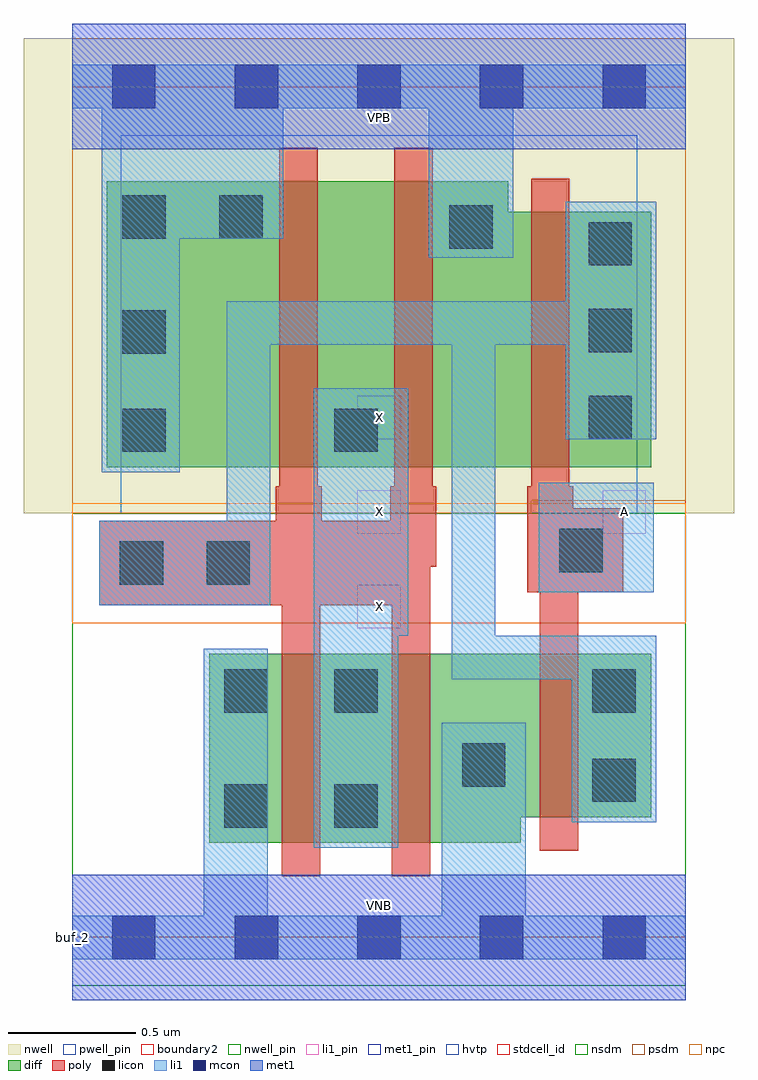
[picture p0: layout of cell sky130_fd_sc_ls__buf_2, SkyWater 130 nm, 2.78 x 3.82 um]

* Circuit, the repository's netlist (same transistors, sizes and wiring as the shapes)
* Copyright 2020 The SkyWater PDK Authors
*
* Licensed under the Apache License, Version 2.0 (the "License");
* you may not use this file except in compliance with the License.
* You may obtain a copy of the License at
*
*     https://www.apache.org/licenses/LICENSE-2.0
*
* Unless required by applicable law or agreed to in writing, software
* distributed under the License is distributed on an "AS IS" BASIS,
* WITHOUT WARRANTIES OR CONDITIONS OF ANY KIND, either express or implied.
* See the License for the specific language governing permissions and
* limitations under the License.
*
* SPDX-License-Identifier: Apache-2.0

.SUBCKT sky130_fd_sc_ls__buf_2 A VGND VNB VPB VPWR X
*.PININFO A:I VGND:I VNB:I VPB:I VPWR:I X:O
MMIN1 Ab A VGND VNB sky130_fd_pr__nfet_01v8 m=1 w=0.64U l=0.15U mult=1 sa=0.265
+ sb=0.265 sd=0.28 area=0.063 perim=1.14
MMIN2 X Ab VGND VNB sky130_fd_pr__nfet_01v8 m=2 w=0.74U l=0.15U mult=1 sa=0.265
+ sb=0.265 sd=0.28 area=0.063 perim=1.14
MMIP1 Ab A VPWR VPB sky130_fd_pr__pfet_01v8_hvt m=1 w=1.0U l=0.15U mult=1 sa=0.265
+ sb=0.265 sd=0.28 area=0.063 perim=1.14
MMIP2 X Ab VPWR VPB sky130_fd_pr__pfet_01v8_hvt m=2 w=1.12U l=0.15U mult=1 sa=0.265
+ sb=0.265 sd=0.28 area=0.063 perim=1.14
.ENDS sky130_fd_sc_ls__buf_2

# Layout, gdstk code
import gdstk
lib = gdstk.Library(unit=1e-6, precision=1e-09)
def R(c, l, rs):  # rectangles x0, y0, x1, y1
    for r in rs: c.add(gdstk.rectangle(r[:2], r[2:], *l))
def A(c, l, x, y, w, h, nx, ny, dx, dy):  # array of equal rectangles
    R(c, l, [(x+i*dx, y+j*dy, x+i*dx+w, y+j*dy+h) for i in range(nx) for j in range(ny)])
def P(c, l, *ps):  # polygons
    for p in ps: c.add(gdstk.Polygon(p, *l))
nwell_pin = (64, 16)
nwell = (64, 20)
diff = (65, 20)
poly = (66, 20)
licon = (66, 44)
li1_pin = (67, 16)
li1 = (67, 20)
mcon = (67, 44)
met1_pin = (68, 16)
met1 = (68, 20)
hvtp = (78, 44)
stdcell_id = (81, 4)
nsdm = (93, 44)
psdm = (94, 20)
npc = (95, 20)
pwell_pin = (122, 16)
boundary2 = (236, 0)

sky130_fd_sc_ls__buf_2 = lib.new_cell('sky130_fd_sc_ls__buf_2')
R(sky130_fd_sc_ls__buf_2, nwell_pin, [(0,3.085,2.4,3.33)])
R(sky130_fd_sc_ls__buf_2, nwell, [(-0.19,1.66,2.59,3.52)])
P(sky130_fd_sc_ls__buf_2, diff, [(2.265,2.84),(1.705,2.84),(1.705,2.96),(0.135,2.96),(0.135,1.84),(2.265,1.84)],
  [(2.265,1.11),(0.535,1.11),(0.535,0.37),(1.755,0.37),(1.755,0.47),(2.265,0.47)])
P(sky130_fd_sc_ls__buf_2, poly, [(1.425,1.765),(1.41,1.765),(1.41,3.09),(1.26,3.09),(1.26,1.765),(1.245,1.765),(1.245,1.63),(0.975,1.63),(0.975,1.765),(0.96,1.765),(0.96,3.09),(0.81,3.09),(0.81,1.765),(0.795,1.765),(0.795,1.63),(0.105,1.63),(0.105,1.3),(0.82,1.3),(0.82,0.24),(0.97,0.24),(0.97,1.3),(1.25,1.3),(1.25,0.24),(1.4,0.24),(1.4,1.45),(1.425,1.45)],
  [(2.155,1.68),(1.96,1.68),(1.96,1.765),(1.945,1.765),(1.945,2.97),(1.795,2.97),(1.795,1.765),(1.78,1.765),(1.78,1.35),(1.83,1.35),(1.83,0.34),(1.98,0.34),(1.98,1.35),(2.155,1.35)])
A(sky130_fd_sc_ls__buf_2, licon, 2.02, 1.95, 0.17, 0.17, 1, 3, 0, 0.34)
R(sky130_fd_sc_ls__buf_2, licon, [(0.595,0.43,0.765,0.6), (1.025,0.43,1.195,0.6), (2.035,0.53,2.205,0.7), (1.525,0.59,1.695,0.76), (0.595,0.88,0.765,1.05), (1.025,0.88,1.195,1.05), (2.035,0.88,2.205,1.05), (0.185,1.38,0.355,1.55), (0.525,1.38,0.695,1.55), (1.905,1.43,2.075,1.6), (0.195,1.9,0.365,2.07), (1.025,1.9,1.195,2.07), (0.195,2.285,0.365,2.455), (1.475,2.695,1.645,2.865), (0.195,2.735,0.365,2.905), (0.575,2.735,0.745,2.905)])
A(sky130_fd_sc_ls__buf_2, li1_pin, 1.115, 1.21, 0.17, 0.17, 1, 3, 0, 0.37)
R(sky130_fd_sc_ls__buf_2, li1_pin, [(2.075,1.58,2.245,1.75)])
R(sky130_fd_sc_ls__buf_2, li1, [(1.825,1.35,2.275,1.78)])
P(sky130_fd_sc_ls__buf_2, li1, [(0.515,0.085),(0.515,1.13),(0.765,1.13),(0.765,0.085),(1.445,0.085),(1.445,0.84),(1.775,0.84),(1.775,0.085),(2.4,0.085),(2.4,-0.085),(0,-0.085),(0,0.085)],
  [(2.285,1.18),(1.655,1.18),(1.655,2.32),(1.93,2.32),(1.93,1.95),(2.285,1.95),(2.285,2.88),(1.93,2.88),(1.93,2.49),(0.605,2.49),(0.605,1.63),(0.105,1.63),(0.105,1.3),(0.775,1.3),(0.775,2.32),(1.485,2.32),(1.485,1.01),(1.955,1.01),(1.955,0.45),(2.285,0.45)],
  [(0.945,2.15),(1.315,2.15),(1.315,1.18),(1.275,1.18),(1.275,0.35),(0.945,0.35)],
  [(2.4,3.415),(0,3.415),(0,3.245),(0.115,3.245),(0.115,1.82),(0.42,1.82),(0.42,2.735),(0.825,2.735),(0.825,3.245),(1.395,3.245),(1.395,2.66),(1.725,2.66),(1.725,3.245),(2.4,3.245)])
A(sky130_fd_sc_ls__buf_2, mcon, 0.155, -0.085, 0.17, 0.17, 5, 2, 0.48, 3.33)
R(sky130_fd_sc_ls__buf_2, met1_pin, [(0,0,2.4,0.245), (0,3.085,2.4,3.33)])
R(sky130_fd_sc_ls__buf_2, met1, [(0,-0.245,2.4,0.245), (0,3.085,2.4,3.575)])
R(sky130_fd_sc_ls__buf_2, hvtp, [(0.19,1.66,2.21,3.14)])
R(sky130_fd_sc_ls__buf_2, stdcell_id, [(0,0,2.4,3.33)])
R(sky130_fd_sc_ls__buf_2, nsdm, [(0,-0.19,2.4,1.66)])
P(sky130_fd_sc_ls__buf_2, psdm, [(2.4,3.52),(0,3.52),(0,1.66),(1.795,1.66),(1.795,1.71),(2.4,1.71)])
R(sky130_fd_sc_ls__buf_2, npc, [(0,1.23,2.4,1.7)])
R(sky130_fd_sc_ls__buf_2, pwell_pin, [(0,0,2.4,0.245)])
R(sky130_fd_sc_ls__buf_2, boundary2, [(0,0,2.4,3.33)])
sky130_fd_sc_ls__buf_2.add(gdstk.Label('buf_2', (0,0), layer=83, texttype=44))
sky130_fd_sc_ls__buf_2.add(gdstk.Label('VNB', (1.2,0.123), layer=64, texttype=59))
sky130_fd_sc_ls__buf_2.add(gdstk.Label('VPB', (1.2,3.208), layer=64, texttype=5))
sky130_fd_sc_ls__buf_2.add(gdstk.Label('VPWR', (1.2,3.208), layer=68, texttype=5))
sky130_fd_sc_ls__buf_2.add(gdstk.Label('VGND', (1.2,0.123), layer=68, texttype=5))
sky130_fd_sc_ls__buf_2.add(gdstk.Label('A', (2.16,1.665), layer=67, texttype=5))
sky130_fd_sc_ls__buf_2.add(gdstk.Label('X', (1.2,1.295), layer=67, texttype=5))
sky130_fd_sc_ls__buf_2.add(gdstk.Label('X', (1.2,1.665), layer=67, texttype=5))
sky130_fd_sc_ls__buf_2.add(gdstk.Label('X', (1.2,2.035), layer=67, texttype=5))

lib.write_gds('sky130_fd_sc_ls__buf_2.gds')
